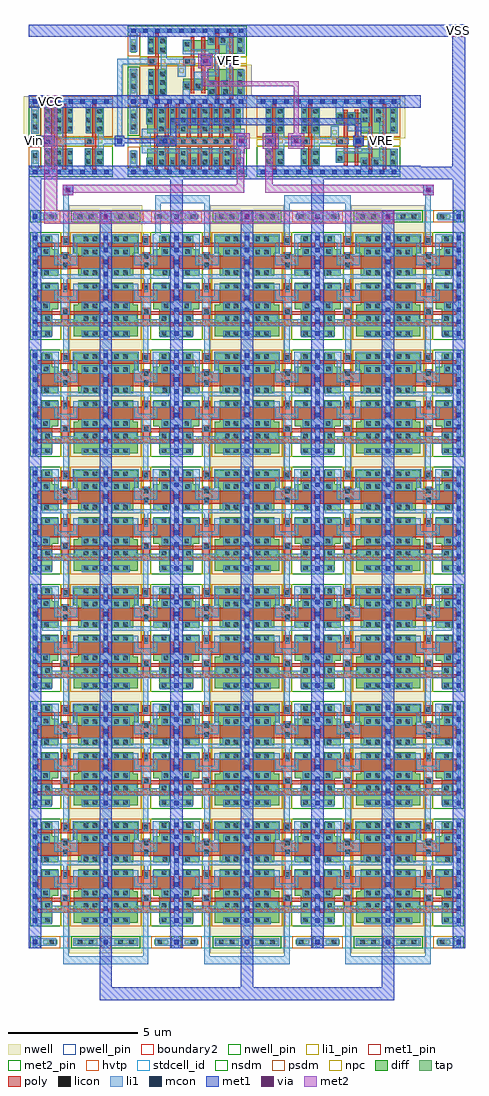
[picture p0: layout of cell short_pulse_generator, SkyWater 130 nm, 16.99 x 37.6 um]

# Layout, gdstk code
from math import pi, radians
import gdstk
lib = gdstk.Library(unit=1e-6, precision=1e-09)
def R(c, l, rs):  # rectangles x0, y0, x1, y1
    for r in rs: c.add(gdstk.rectangle(r[:2], r[2:], *l))
def A(c, l, x, y, w, h, nx, ny, dx, dy):  # array of equal rectangles
    R(c, l, [(x+i*dx, y+j*dy, x+i*dx+w, y+j*dy+h) for i in range(nx) for j in range(ny)])
def P(c, l, *ps):  # polygons
    for p in ps: c.add(gdstk.Polygon(p, *l))
nwell_pin = (64, 16)
nwell = (64, 20)
diff = (65, 20)
tap = (65, 44)
poly = (66, 20)
licon = (66, 44)
li1_pin = (67, 16)
li1 = (67, 20)
mcon = (67, 44)
met1_pin = (68, 16)
met1 = (68, 20)
via = (68, 44)
met2_pin = (69, 16)
met2 = (69, 20)
hvtp = (78, 44)
stdcell_id = (81, 4)
nsdm = (93, 44)
psdm = (94, 20)
npc = (95, 20)
pwell_pin = (122, 16)
boundary2 = (236, 0)

sky130_fd_sc_hd__inv_1 = lib.new_cell('sky130_fd_sc_hd__inv_1')
R(sky130_fd_sc_hd__inv_1, nwell_pin, [(0.145,2.635,0.315,2.805), (0.145,2.635,0.315,2.805)])
R(sky130_fd_sc_hd__inv_1, nwell, [(-0.19,1.305,1.57,2.91)])
R(sky130_fd_sc_hd__inv_1, diff, [(0.34,0.235,1.01,0.885), (0.34,1.485,1.01,2.485)])
P(sky130_fd_sc_hd__inv_1, poly, [(0.75,2.615),(0.6,2.615),(0.6,1.325),(0.32,1.325),(0.32,0.995),(0.6,0.995),(0.6,0.105),(0.75,0.105)])
A(sky130_fd_sc_hd__inv_1, licon, 0.38, 1.575, 0.17, 0.17, 1, 3, 0, 0.34)
A(sky130_fd_sc_hd__inv_1, licon, 0.8, 1.575, 0.17, 0.17, 1, 3, 0, 0.34)
R(sky130_fd_sc_hd__inv_1, licon, [(0.38,0.315,0.55,0.485), (0.8,0.315,0.97,0.485), (0.38,0.655,0.55,0.825), (0.8,0.655,0.97,0.825), (0.4,1.075,0.57,1.245)])
R(sky130_fd_sc_hd__inv_1, li1_pin, [(0.36,1.105,0.53,1.275), (0.82,1.105,0.99,1.275), (0.82,1.445,0.99,1.615)])
R(sky130_fd_sc_hd__inv_1, li1, [(0,-0.085,1.38,0.085), (0.32,0.005,0.55,0.905), (0.32,1.075,0.65,1.315), (0.34,1.495,0.55,2.675), (0,2.635,1.38,2.805)])
P(sky130_fd_sc_hd__inv_1, li1, [(1.05,2.465),(0.72,2.465),(0.72,1.485),(0.82,1.485),(0.82,0.885),(0.72,0.885),(0.72,0.255),(1.05,0.255)])
A(sky130_fd_sc_hd__inv_1, mcon, 0.145, -0.085, 0.17, 0.17, 3, 2, 0.46, 2.72)
R(sky130_fd_sc_hd__inv_1, met1_pin, [(0.145,-0.085,0.315,0.085), (0.145,-0.085,0.315,0.085), (0.145,2.635,0.315,2.805), (0.145,2.635,0.315,2.805)])
R(sky130_fd_sc_hd__inv_1, hvtp, [(0,1.25,1.38,2.72)])
R(sky130_fd_sc_hd__inv_1, stdcell_id, [(0,0,1.38,2.72)])
R(sky130_fd_sc_hd__inv_1, nsdm, [(0,-0.19,1.38,1.015)])
R(sky130_fd_sc_hd__inv_1, psdm, [(0,1.355,1.38,2.91)])
R(sky130_fd_sc_hd__inv_1, npc, [(0,0.975,1.38,1.345)])
R(sky130_fd_sc_hd__inv_1, pwell_pin, [(0.145,-0.085,0.315,0.085), (0.145,-0.085,0.315,0.085)])
R(sky130_fd_sc_hd__inv_1, boundary2, [(0,0,1.38,2.72)])
sky130_fd_sc_hd__inv_1.add(gdstk.FlexPath([(0,2.72),(1.38,2.72)], 0.48, ends="flush", simple_path=True, layer=68, datatype=20))  # met1
sky130_fd_sc_hd__inv_1.add(gdstk.FlexPath([(0,0),(1.38,0)], 0.48, ends="flush", simple_path=True, layer=68, datatype=20))  # met1
sky130_fd_sc_hd__inv_1.add(gdstk.Label('Y', (0.905,1.53), layer=67, texttype=5))
sky130_fd_sc_hd__inv_1.add(gdstk.Label('Y', (0.905,1.19), layer=67, texttype=5))
sky130_fd_sc_hd__inv_1.add(gdstk.Label('A', (0.445,1.19), layer=67, texttype=5))
sky130_fd_sc_hd__inv_1.add(gdstk.Label('VPB', (0.23,2.72), layer=64, texttype=5))
sky130_fd_sc_hd__inv_1.add(gdstk.Label('VNB', (0.23,0), layer=64, texttype=59))
sky130_fd_sc_hd__inv_1.add(gdstk.Label('VGND', (0.23,0), layer=68, texttype=5))
sky130_fd_sc_hd__inv_1.add(gdstk.Label('VPWR', (0.23,2.72), layer=68, texttype=5))
sky130_fd_sc_hd__inv_1.add(gdstk.Label('inv_1', (0,0), layer=83, texttype=44))

sky130_fd_sc_hd__tap_1 = lib.new_cell('sky130_fd_sc_hd__tap_1')
R(sky130_fd_sc_hd__tap_1, nwell, [(-0.19,1.305,0.65,2.91)])
R(sky130_fd_sc_hd__tap_1, tap, [(0.145,0.32,0.315,0.845), (0.145,1.525,0.315,2.4)])
R(sky130_fd_sc_hd__tap_1, licon, [(0.145,0.555,0.315,0.725), (0.145,1.645,0.315,1.815), (0.145,2.065,0.315,2.235)])
R(sky130_fd_sc_hd__tap_1, li1_pin, [(0.19,0.47,0.27,0.565), (0.145,1.81,0.285,1.93)])
R(sky130_fd_sc_hd__tap_1, li1, [(0.085,0.265,0.375,0.81), (0.085,1.47,0.375,2.455)])
R(sky130_fd_sc_hd__tap_1, mcon, [(0.145,-0.085,0.315,0.085), (0.145,2.635,0.315,2.805)])
R(sky130_fd_sc_hd__tap_1, met1_pin, [(0.14,-0.05,0.34,0.07), (0.13,2.675,0.345,2.775)])
R(sky130_fd_sc_hd__tap_1, hvtp, [(0,1.25,0.46,2.72)])
R(sky130_fd_sc_hd__tap_1, stdcell_id, [(0,0,0.46,2.72)])
R(sky130_fd_sc_hd__tap_1, nsdm, [(0,-0.19,0.46,0.19), (0,1.395,0.46,2.53)])
R(sky130_fd_sc_hd__tap_1, psdm, [(0,0.19,0.46,0.975), (0,2.53,0.46,2.91)])
sky130_fd_sc_hd__tap_1.add(gdstk.FlexPath([(0,2.72),(0.46,2.72)], 0.48, ends="flush", simple_path=True, layer=68, datatype=20))  # met1
sky130_fd_sc_hd__tap_1.add(gdstk.FlexPath([(0,0),(0.46,0)], 0.48, ends="flush", simple_path=True, layer=68, datatype=20))  # met1
sky130_fd_sc_hd__tap_1.add(gdstk.FlexPath([(0,0),(0.46,0)], 0.17, ends="flush", simple_path=True, layer=67, datatype=20))  # li1
sky130_fd_sc_hd__tap_1.add(gdstk.FlexPath([(0,2.72),(0.46,2.72)], 0.17, ends="flush", simple_path=True, layer=67, datatype=20))  # li1
sky130_fd_sc_hd__tap_1.add(gdstk.Label('VGND', (0.23,0), layer=68, texttype=5))
sky130_fd_sc_hd__tap_1.add(gdstk.Label('VPWR', (0.23,2.72), layer=68, texttype=5))
sky130_fd_sc_hd__tap_1.add(gdstk.Label('VNB', (0.23,0.51), layer=67, texttype=5))
sky130_fd_sc_hd__tap_1.add(gdstk.Label('VPB', (0.23,1.87), layer=67, texttype=5))
sky130_fd_sc_hd__tap_1.add(gdstk.Label('tap_1', (0,0), layer=83, texttype=44))

sky130_fd_sc_hd__inv_2 = lib.new_cell('sky130_fd_sc_hd__inv_2')
R(sky130_fd_sc_hd__inv_2, nwell_pin, [(0.145,2.635,0.315,2.805)])
R(sky130_fd_sc_hd__inv_2, nwell, [(-0.19,1.305,1.57,2.91)])
R(sky130_fd_sc_hd__inv_2, diff, [(0.145,0.235,1.235,0.885), (0.145,1.485,1.235,2.485)])
P(sky130_fd_sc_hd__inv_2, poly, [(0.975,2.615),(0.825,2.615),(0.825,1.325),(0.555,1.325),(0.555,2.615),(0.405,2.615),(0.405,1.325),(0.105,1.325),(0.105,0.995),(0.405,0.995),(0.405,0.105),(0.555,0.105),(0.555,0.995),(0.825,0.995),(0.825,0.105),(0.975,0.105)])
A(sky130_fd_sc_hd__inv_2, licon, 0.185, 0.295, 0.17, 0.17, 3, 2, 0.42, 0.36)
A(sky130_fd_sc_hd__inv_2, licon, 0.185, 1.575, 0.17, 0.17, 3, 3, 0.42, 0.34)
R(sky130_fd_sc_hd__inv_2, licon, [(0.185,1.075,0.355,1.245)])
A(sky130_fd_sc_hd__inv_2, li1_pin, 0.605, 0.765, 0.17, 0.17, 1, 3, 0, 0.34)
R(sky130_fd_sc_hd__inv_2, li1_pin, [(0.145,1.105,0.315,1.275)])
R(sky130_fd_sc_hd__inv_2, li1, [(0.105,1.075,0.435,1.325)])
P(sky130_fd_sc_hd__inv_2, li1, [(1.38,2.805),(0,2.805),(0,2.635),(0.125,2.635),(0.125,1.495),(0.355,1.495),(0.355,2.635),(1.025,2.635),(1.025,1.495),(1.235,1.495),(1.235,2.635),(1.38,2.635)],
  [(0.855,2.465),(0.525,2.465),(0.525,1.485),(0.605,1.485),(0.605,0.885),(0.525,0.885),(0.525,0.255),(0.855,0.255)],
  [(1.38,0.085),(1.235,0.085),(1.235,0.905),(1.025,0.905),(1.025,0.085),(0.355,0.085),(0.355,0.905),(0.125,0.905),(0.125,0.085),(0,0.085),(0,-0.085),(1.38,-0.085)])
A(sky130_fd_sc_hd__inv_2, mcon, 0.145, -0.085, 0.17, 0.17, 3, 2, 0.46, 2.72)
R(sky130_fd_sc_hd__inv_2, met1_pin, [(0.145,-0.085,0.315,0.085), (0.145,2.635,0.315,2.805)])
R(sky130_fd_sc_hd__inv_2, hvtp, [(0,1.25,1.38,2.72)])
R(sky130_fd_sc_hd__inv_2, stdcell_id, [(0,0,1.38,2.72)])
R(sky130_fd_sc_hd__inv_2, nsdm, [(0,-0.19,1.38,1.015)])
R(sky130_fd_sc_hd__inv_2, psdm, [(0,1.355,1.38,2.91)])
R(sky130_fd_sc_hd__inv_2, npc, [(0,0.975,1.38,1.345)])
R(sky130_fd_sc_hd__inv_2, pwell_pin, [(0.145,-0.085,0.315,0.085)])
R(sky130_fd_sc_hd__inv_2, boundary2, [(0,0,1.38,2.72)])
sky130_fd_sc_hd__inv_2.add(gdstk.FlexPath([(0,2.72),(1.38,2.72)], 0.48, ends="flush", simple_path=True, layer=68, datatype=20))  # met1
sky130_fd_sc_hd__inv_2.add(gdstk.FlexPath([(0,0),(1.38,0)], 0.48, ends="flush", simple_path=True, layer=68, datatype=20))  # met1
sky130_fd_sc_hd__inv_2.add(gdstk.Label('A', (0.23,1.19), layer=67, texttype=5))
sky130_fd_sc_hd__inv_2.add(gdstk.Label('Y', (0.69,0.85), layer=67, texttype=5))
sky130_fd_sc_hd__inv_2.add(gdstk.Label('Y', (0.69,1.53), layer=67, texttype=5))
sky130_fd_sc_hd__inv_2.add(gdstk.Label('Y', (0.69,1.19), layer=67, texttype=5))
sky130_fd_sc_hd__inv_2.add(gdstk.Label('VPB', (0.23,2.72), layer=64, texttype=5))
sky130_fd_sc_hd__inv_2.add(gdstk.Label('VNB', (0.23,0), layer=64, texttype=59))
sky130_fd_sc_hd__inv_2.add(gdstk.Label('VPWR', (0.23,2.72), layer=68, texttype=5))
sky130_fd_sc_hd__inv_2.add(gdstk.Label('VGND', (0.23,0), layer=68, texttype=5))
sky130_fd_sc_hd__inv_2.add(gdstk.Label('inv_2', (0,0), layer=83, texttype=44))

sky130_fd_sc_hd__inv_8 = lib.new_cell('sky130_fd_sc_hd__inv_8')
R(sky130_fd_sc_hd__inv_8, nwell_pin, [(0.145,2.635,0.315,2.805)])
R(sky130_fd_sc_hd__inv_8, nwell, [(-0.19,1.305,4.33,2.91)])
R(sky130_fd_sc_hd__inv_8, diff, [(0.3,0.235,3.91,0.885), (0.3,1.485,3.91,2.485)])
P(sky130_fd_sc_hd__inv_8, poly, [(3.65,2.615),(3.5,2.615),(3.5,1.325),(3.23,1.325),(3.23,2.615),(3.08,2.615),(3.08,1.325),(2.81,1.325),(2.81,2.615),(2.66,2.615),(2.66,1.325),(2.39,1.325),(2.39,2.615),(2.24,2.615),(2.24,1.325),(1.97,1.325),(1.97,2.615),(1.82,2.615),(1.82,1.325),(1.55,1.325),(1.55,2.615),(1.4,2.615),(1.4,1.325),(1.13,1.325),(1.13,2.615),(0.98,2.615),(0.98,1.325),(0.71,1.325),(0.71,2.615),(0.56,2.615),(0.56,0.105),(0.71,0.105),(0.71,0.995),(0.98,0.995),(0.98,0.105),(1.13,0.105),(1.13,0.995),(1.4,0.995),(1.4,0.105),(1.55,0.105),(1.55,0.995),(1.82,0.995),(1.82,0.105),(1.97,0.105),(1.97,0.995),(2.24,0.995),(2.24,0.105),(2.39,0.105),(2.39,0.995),(2.66,0.995),(2.66,0.105),(2.81,0.105),(2.81,0.995),(3.08,0.995),(3.08,0.105),(3.23,0.105),(3.23,0.995),(3.5,0.995),(3.5,0.105),(3.65,0.105)])
A(sky130_fd_sc_hd__inv_8, licon, 0.34, 0.295, 0.17, 0.17, 9, 2, 0.42, 1.62)
A(sky130_fd_sc_hd__inv_8, licon, 0.76, 0.635, 0.17, 0.17, 4, 2, 0.84, 0.94)
A(sky130_fd_sc_hd__inv_8, licon, 0.76, 1.075, 0.17, 0.17, 7, 1, 0.42, 0)
A(sky130_fd_sc_hd__inv_8, licon, 0.34, 2.255, 0.17, 0.17, 9, 1, 0.42, 0)
A(sky130_fd_sc_hd__inv_8, li1_pin, 1.065, 1.105, 0.17, 0.17, 7, 1, 0.46, 0)
R(sky130_fd_sc_hd__inv_8, li1_pin, [(0.145,1.105,0.315,1.275)])
R(sky130_fd_sc_hd__inv_8, li1, [(0.68,1.075,3.535,1.325)])
P(sky130_fd_sc_hd__inv_8, li1, [(4.055,1.665),(3.735,1.665),(3.735,0.905),(0.43,0.905),(0.43,1.495),(3.735,1.495),(3.735,1.665),(3.53,1.665),(3.53,2.465),(3.2,2.465),(3.2,1.665),(2.69,1.665),(2.69,2.465),(2.36,2.465),(2.36,1.665),(1.85,1.665),(1.85,2.465),(1.52,2.465),(1.52,1.665),(1.01,1.665),(1.01,2.465),(0.68,2.465),(0.68,1.665),(0.085,1.665),(0.085,0.715),(0.68,0.715),(0.68,0.255),(1.01,0.255),(1.01,0.715),(1.52,0.715),(1.52,0.255),(1.85,0.255),(1.85,0.715),(2.36,0.715),(2.36,0.255),(2.69,0.255),(2.69,0.715),(3.2,0.715),(3.2,0.255),(3.53,0.255),(3.53,0.715),(4.055,0.715)],
  [(4.14,0.085),(4.005,0.085),(4.005,0.545),(3.7,0.545),(3.7,0.085),(3.03,0.085),(3.03,0.545),(2.86,0.545),(2.86,0.085),(2.19,0.085),(2.19,0.545),(2.02,0.545),(2.02,0.085),(1.35,0.085),(1.35,0.545),(1.18,0.545),(1.18,0.085),(0.51,0.085),(0.51,0.545),(0.255,0.545),(0.255,0.085),(0,0.085),(0,-0.085),(4.14,-0.085)],
  [(4.14,2.805),(0,2.805),(0,2.635),(0.255,2.635),(0.255,1.835),(0.51,1.835),(0.51,2.635),(1.18,2.635),(1.18,1.835),(1.35,1.835),(1.35,2.635),(2.02,2.635),(2.02,1.835),(2.19,1.835),(2.19,2.635),(2.86,2.635),(2.86,1.835),(3.03,1.835),(3.03,2.635),(3.7,2.635),(3.7,1.835),(4,1.835),(4,2.635),(4.14,2.635)])
A(sky130_fd_sc_hd__inv_8, mcon, 0.145, -0.085, 0.17, 0.17, 9, 2, 0.46, 2.72)
R(sky130_fd_sc_hd__inv_8, met1_pin, [(0.145,-0.085,0.315,0.085), (0.145,2.635,0.315,2.805)])
R(sky130_fd_sc_hd__inv_8, hvtp, [(0,1.25,4.14,2.72)])
R(sky130_fd_sc_hd__inv_8, stdcell_id, [(0,0,4.14,2.72)])
R(sky130_fd_sc_hd__inv_8, nsdm, [(0,-0.19,4.14,1.015)])
R(sky130_fd_sc_hd__inv_8, psdm, [(0,1.355,4.14,2.91)])
R(sky130_fd_sc_hd__inv_8, npc, [(0,0.975,4.14,1.345)])
R(sky130_fd_sc_hd__inv_8, pwell_pin, [(0.145,-0.085,0.315,0.085)])
R(sky130_fd_sc_hd__inv_8, boundary2, [(0,0,4.14,2.72)])
sky130_fd_sc_hd__inv_8.add(gdstk.FlexPath([(0,2.72),(4.14,2.72)], 0.48, ends="flush", simple_path=True, layer=68, datatype=20))  # met1
sky130_fd_sc_hd__inv_8.add(gdstk.FlexPath([(0,0),(4.14,0)], 0.48, ends="flush", simple_path=True, layer=68, datatype=20))  # met1
sky130_fd_sc_hd__inv_8.add(gdstk.Label('A', (1.15,1.19), layer=67, texttype=5))
sky130_fd_sc_hd__inv_8.add(gdstk.Label('A', (1.61,1.19), layer=67, texttype=5))
sky130_fd_sc_hd__inv_8.add(gdstk.Label('A', (2.07,1.19), layer=67, texttype=5))
sky130_fd_sc_hd__inv_8.add(gdstk.Label('A', (2.53,1.19), layer=67, texttype=5))
sky130_fd_sc_hd__inv_8.add(gdstk.Label('A', (2.99,1.19), layer=67, texttype=5))
sky130_fd_sc_hd__inv_8.add(gdstk.Label('A', (3.45,1.19), layer=67, texttype=5))
sky130_fd_sc_hd__inv_8.add(gdstk.Label('Y', (3.91,1.19), layer=67, texttype=5))
sky130_fd_sc_hd__inv_8.add(gdstk.Label('Y', (0.23,1.19), layer=67, texttype=5))
sky130_fd_sc_hd__inv_8.add(gdstk.Label('VNB', (0.23,0), layer=64, texttype=59))
sky130_fd_sc_hd__inv_8.add(gdstk.Label('VPB', (0.23,2.72), layer=64, texttype=5))
sky130_fd_sc_hd__inv_8.add(gdstk.Label('VGND', (0.23,0), layer=68, texttype=5))
sky130_fd_sc_hd__inv_8.add(gdstk.Label('VPWR', (0.23,2.72), layer=68, texttype=5))
sky130_fd_sc_hd__inv_8.add(gdstk.Label('inv_8', (0,0), layer=83, texttype=44))

sky130_fd_sc_hd__and2_2 = lib.new_cell('sky130_fd_sc_hd__and2_2')
R(sky130_fd_sc_hd__and2_2, nwell_pin, [(0.145,2.635,0.315,2.805)])
R(sky130_fd_sc_hd__and2_2, nwell, [(-0.19,1.305,2.95,2.91)])
P(sky130_fd_sc_hd__and2_2, diff, [(2.615,2.485),(1.285,2.485),(1.285,2.275),(0.305,2.275),(0.305,1.855),(1.235,1.855),(1.235,1.485),(2.615,1.485)],
  [(2.615,0.885),(1.285,0.885),(1.285,0.795),(0.305,0.795),(0.305,0.375),(1.285,0.375),(1.285,0.235),(2.615,0.235)])
P(sky130_fd_sc_hd__and2_2, poly, [(0.735,2.405),(0.585,2.405),(0.585,1.325),(0.3,1.325),(0.3,0.995),(0.585,0.995),(0.585,0.245),(0.735,0.245)],
  [(1.335,1.325),(1.155,1.325),(1.155,2.405),(1.005,2.405),(1.005,0.245),(1.155,0.245),(1.155,0.995),(1.335,0.995)],
  [(2.235,2.615),(2.085,2.615),(2.085,1.325),(1.695,1.325),(1.695,2.615),(1.545,2.615),(1.545,0.105),(1.695,0.105),(1.695,0.995),(2.085,0.995),(2.085,0.105),(2.235,0.105)])
A(sky130_fd_sc_hd__and2_2, licon, 2.385, 1.575, 0.17, 0.17, 1, 3, 0, 0.34)
R(sky130_fd_sc_hd__and2_2, licon, [(1.325,0.295,1.495,0.465), (1.745,0.295,1.915,0.465), (2.385,0.295,2.555,0.465), (0.365,0.435,0.535,0.605), (2.385,0.635,2.555,0.805), (0.38,1.075,0.55,1.245), (1.085,1.075,1.255,1.245), (1.625,1.075,1.795,1.245), (1.325,1.915,1.495,2.085), (1.845,1.915,2.015,2.085), (0.365,2.045,0.535,2.215), (0.785,2.045,0.955,2.215), (1.325,2.255,1.495,2.425), (1.845,2.255,2.015,2.425)])
A(sky130_fd_sc_hd__and2_2, li1_pin, 1.985, 0.425, 0.17, 0.17, 1, 6, 0, 0.34)
A(sky130_fd_sc_hd__and2_2, li1_pin, 0.145, 1.105, 0.17, 0.17, 3, 1, 0.46, 0)
R(sky130_fd_sc_hd__and2_2, li1_pin, [(0.145,1.445,0.315,1.615)])
R(sky130_fd_sc_hd__and2_2, li1, [(1.005,1.075,1.335,1.325)])
P(sky130_fd_sc_hd__and2_2, li1, [(0.085,1.075),(0.085,1.765),(0.4,1.765),(0.4,1.325),(0.775,1.325),(0.775,1.075)],
  [(1.795,1.325),(1.675,1.325),(1.675,1.745),(1.035,1.745),(1.035,2.295),(0.735,2.295),(0.735,1.575),(1.505,1.575),(1.505,0.905),(0.285,0.905),(0.285,0.355),(0.615,0.355),(0.615,0.715),(1.675,0.715),(1.675,0.995),(1.795,0.995)],
  [(2.76,0.085),(2.675,0.085),(2.675,0.885),(2.385,0.885),(2.385,0.085),(1.495,0.085),(1.495,0.545),(1.245,0.545),(1.245,0.085),(0,0.085),(0,-0.085),(2.76,-0.085)],
  [(2.215,2.465),(1.765,2.465),(1.765,1.915),(1.965,1.915),(1.965,0.545),(1.665,0.545),(1.665,0.255),(2.215,0.255)],
  [(2.76,2.805),(0,2.805),(0,2.635),(0.285,2.635),(0.285,1.965),(0.565,1.965),(0.565,2.635),(1.245,2.635),(1.245,1.915),(1.575,1.915),(1.575,2.635),(2.385,2.635),(2.385,1.495),(2.675,1.495),(2.675,2.635),(2.76,2.635)])
A(sky130_fd_sc_hd__and2_2, mcon, 0.145, -0.085, 0.17, 0.17, 6, 2, 0.46, 2.72)
R(sky130_fd_sc_hd__and2_2, met1_pin, [(0.145,-0.085,0.315,0.085), (0.145,2.635,0.315,2.805)])
R(sky130_fd_sc_hd__and2_2, hvtp, [(0,1.25,2.76,2.72)])
R(sky130_fd_sc_hd__and2_2, stdcell_id, [(0,0,2.76,2.72)])
R(sky130_fd_sc_hd__and2_2, nsdm, [(0,-0.19,2.76,1.015)])
R(sky130_fd_sc_hd__and2_2, psdm, [(0,1.355,2.76,2.91)])
R(sky130_fd_sc_hd__and2_2, npc, [(0,0.975,2.76,1.345)])
R(sky130_fd_sc_hd__and2_2, pwell_pin, [(0.145,-0.085,0.315,0.085)])
R(sky130_fd_sc_hd__and2_2, boundary2, [(0,0,2.76,2.72)])
sky130_fd_sc_hd__and2_2.add(gdstk.FlexPath([(0,0),(2.76,0)], 0.48, ends="flush", simple_path=True, layer=68, datatype=20))  # met1
sky130_fd_sc_hd__and2_2.add(gdstk.FlexPath([(0,2.72),(2.76,2.72)], 0.48, ends="flush", simple_path=True, layer=68, datatype=20))  # met1
sky130_fd_sc_hd__and2_2.add(gdstk.Label('VPWR', (0.23,2.72), layer=68, texttype=5))
sky130_fd_sc_hd__and2_2.add(gdstk.Label('VGND', (0.23,0), layer=68, texttype=5))
sky130_fd_sc_hd__and2_2.add(gdstk.Label('A', (0.69,1.19), layer=67, texttype=5))
sky130_fd_sc_hd__and2_2.add(gdstk.Label('X', (2.07,0.85), layer=67, texttype=5))
sky130_fd_sc_hd__and2_2.add(gdstk.Label('A', (0.23,1.19), layer=67, texttype=5))
sky130_fd_sc_hd__and2_2.add(gdstk.Label('X', (2.07,0.51), layer=67, texttype=5))
sky130_fd_sc_hd__and2_2.add(gdstk.Label('X', (2.07,1.19), layer=67, texttype=5))
sky130_fd_sc_hd__and2_2.add(gdstk.Label('X', (2.07,1.53), layer=67, texttype=5))
sky130_fd_sc_hd__and2_2.add(gdstk.Label('X', (2.07,1.87), layer=67, texttype=5))
sky130_fd_sc_hd__and2_2.add(gdstk.Label('X', (2.07,2.21), layer=67, texttype=5))
sky130_fd_sc_hd__and2_2.add(gdstk.Label('B', (1.15,1.19), layer=67, texttype=5))
sky130_fd_sc_hd__and2_2.add(gdstk.Label('VPB', (0.23,2.72), layer=64, texttype=5))
sky130_fd_sc_hd__and2_2.add(gdstk.Label('VNB', (0.23,0), layer=64, texttype=59))
sky130_fd_sc_hd__and2_2.add(gdstk.Label('and2_2', (0,0), layer=83, texttype=44))

sky130_fd_sc_hd__clkdlyb = lib.new_cell('sky130_fd_sc_hd__clkdlybuf4s50_2')
R(sky130_fd_sc_hd__clkdlyb, nwell_pin, [(0.15,2.635,0.32,2.805)])
R(sky130_fd_sc_hd__clkdlyb, nwell, [(-0.19,1.305,4.33,2.91)])
P(sky130_fd_sc_hd__clkdlyb, diff, [(1.68,2.485),(0.135,2.485),(0.135,1.485),(0.805,1.485),(0.805,1.665),(1.68,1.665)],
  [(1.68,0.885),(0.665,0.885),(0.665,0.655),(0.135,0.655),(0.135,0.235),(1.68,0.235)],
  [(4.005,2.485),(1.95,2.485),(1.95,1.665),(2.79,1.665),(2.79,1.485),(4.005,1.485)],
  [(4.005,0.655),(2.96,0.655),(2.96,0.885),(1.95,0.885),(1.95,0.235),(4.005,0.235)])
P(sky130_fd_sc_hd__clkdlyb, poly, [(0.555,2.615),(0.405,2.615),(0.405,1.305),(0.15,1.305),(0.15,1.015),(0.405,1.015),(0.405,0.105),(0.555,0.105)],
  [(1.435,1.295),(1.415,1.295),(1.415,2.615),(0.915,2.615),(0.915,1.295),(0.765,1.295),(0.765,1.025),(0.915,1.025),(0.915,0.105),(1.415,0.105),(1.415,1.025),(1.435,1.025)],
  [(2.71,2.615),(2.21,2.615),(2.21,1.305),(1.975,1.305),(1.975,1.015),(2.21,1.015),(2.21,0.105),(2.71,0.105)],
  [(3.615,2.615),(3.465,2.615),(3.465,1.295),(3.19,1.295),(3.19,2.615),(3.04,2.615),(3.04,1.325),(2.92,1.325),(2.92,0.995),(3.04,0.995),(3.04,0.105),(3.19,0.105),(3.19,1.025),(3.465,1.025),(3.465,0.105),(3.615,0.105)])
R(sky130_fd_sc_hd__clkdlyb, licon, [(2.765,0.315,2.935,0.485), (0.665,0.34,0.835,0.51), (1.47,0.35,1.64,0.52), (0.18,0.385,0.35,0.555), (1.99,0.385,2.16,0.555), (3.245,0.385,3.415,0.555), (3.795,0.385,3.965,0.555), (0.23,1.075,0.4,1.245), (0.845,1.075,1.015,1.245), (1.185,1.075,1.355,1.245), (2.055,1.075,2.225,1.245), (2.97,1.075,3.14,1.245), (1.99,1.875,2.16,2.045), (3.245,1.875,3.415,2.045), (0.18,1.88,0.35,2.05), (0.68,1.88,0.85,2.05), (1.47,1.88,1.64,2.05), (2.765,1.88,2.935,2.05), (3.795,1.88,3.965,2.05), (1.99,2.215,2.16,2.385), (3.245,2.215,3.415,2.385), (0.18,2.22,0.35,2.39), (0.68,2.22,0.85,2.39), (1.47,2.22,1.64,2.39), (2.765,2.22,2.935,2.39), (3.795,2.22,3.965,2.39)])
A(sky130_fd_sc_hd__clkdlyb, li1_pin, 3.39, 0.425, 0.17, 0.17, 1, 6, 0, 0.34)
R(sky130_fd_sc_hd__clkdlyb, li1_pin, [(0.15,1.105,0.32,1.275)])
R(sky130_fd_sc_hd__clkdlyb, li1, [(0.085,1.075,0.48,1.285)])
P(sky130_fd_sc_hd__clkdlyb, li1, [(4.14,0.085),(4.055,0.085),(4.055,0.635),(3.795,0.635),(3.795,0.085),(3.015,0.085),(3.015,0.565),(2.685,0.565),(2.685,0.085),(0.915,0.085),(0.915,0.565),(0.585,0.565),(0.585,0.085),(0,0.085),(0,-0.085),(4.14,-0.085)],
  [(4.14,2.805),(0,2.805),(0,2.635),(0.6,2.635),(0.6,1.8),(0.93,1.8),(0.93,2.635),(2.685,2.635),(2.685,1.8),(3.015,1.8),(3.015,2.635),(3.795,2.635),(3.795,1.8),(4.055,1.8),(4.055,2.635),(4.14,2.635)],
  [(1.435,1.245),(1.27,1.245),(1.27,1.63),(0.43,1.63),(0.43,2.465),(0.085,2.465),(0.085,1.455),(0.85,1.455),(0.85,1.245),(0.765,1.245),(0.765,1.075),(0.85,1.075),(0.85,0.905),(0.085,0.905),(0.085,0.27),(0.415,0.27),(0.415,0.735),(1.27,0.735),(1.27,1.075),(1.435,1.075)],
  [(2.305,1.245),(1.795,1.245),(1.795,2.465),(1.39,2.465),(1.39,1.785),(1.625,1.785),(1.625,0.9),(1.44,0.9),(1.44,0.27),(1.795,0.27),(1.795,1.075),(2.305,1.075)],
  [(3.175,1.325),(2.645,1.325),(2.645,1.63),(2.235,1.63),(2.235,2.465),(1.985,2.465),(1.985,1.46),(2.475,1.46),(2.475,0.905),(1.985,0.905),(1.985,0.27),(2.235,0.27),(2.235,0.735),(2.645,0.735),(2.645,0.995),(3.175,0.995)],
  [(3.625,2.465),(3.185,2.465),(3.185,1.53),(3.345,1.53),(3.345,0.64),(3.185,0.64),(3.185,0.27),(3.625,0.27)])
A(sky130_fd_sc_hd__clkdlyb, mcon, 0.145, -0.085, 0.17, 0.17, 9, 2, 0.46, 2.72)
R(sky130_fd_sc_hd__clkdlyb, met1_pin, [(0.15,-0.085,0.32,0.085), (0.15,2.635,0.32,2.805)])
R(sky130_fd_sc_hd__clkdlyb, hvtp, [(0,1.25,4.14,2.72)])
R(sky130_fd_sc_hd__clkdlyb, stdcell_id, [(0,0,4.14,2.72)])
R(sky130_fd_sc_hd__clkdlyb, nsdm, [(0,-0.19,4.14,1.015)])
R(sky130_fd_sc_hd__clkdlyb, psdm, [(0,1.355,4.14,2.91)])
R(sky130_fd_sc_hd__clkdlyb, npc, [(0,0.975,4.14,1.345)])
R(sky130_fd_sc_hd__clkdlyb, pwell_pin, [(0.15,-0.085,0.32,0.085)])
R(sky130_fd_sc_hd__clkdlyb, boundary2, [(0,0,4.14,2.72)])
sky130_fd_sc_hd__clkdlyb.add(gdstk.FlexPath([(0,2.72),(4.14,2.72)], 0.48, ends="flush", simple_path=True, layer=68, datatype=20))  # met1
sky130_fd_sc_hd__clkdlyb.add(gdstk.FlexPath([(0,0),(4.14,0)], 0.48, ends="flush", simple_path=True, layer=68, datatype=20))  # met1
sky130_fd_sc_hd__clkdlyb.add(gdstk.Label('A', (0.235,1.19), layer=67, texttype=5))
sky130_fd_sc_hd__clkdlyb.add(gdstk.Label('X', (3.475,2.21), layer=67, texttype=5))
sky130_fd_sc_hd__clkdlyb.add(gdstk.Label('X', (3.475,1.87), layer=67, texttype=5))
sky130_fd_sc_hd__clkdlyb.add(gdstk.Label('X', (3.475,1.53), layer=67, texttype=5))
sky130_fd_sc_hd__clkdlyb.add(gdstk.Label('X', (3.475,1.19), layer=67, texttype=5))
sky130_fd_sc_hd__clkdlyb.add(gdstk.Label('X', (3.475,0.85), layer=67, texttype=5))
sky130_fd_sc_hd__clkdlyb.add(gdstk.Label('X', (3.475,0.51), layer=67, texttype=5))
sky130_fd_sc_hd__clkdlyb.add(gdstk.Label('VNB', (0.23,0), layer=64, texttype=59))
sky130_fd_sc_hd__clkdlyb.add(gdstk.Label('VPB', (0.23,2.72), layer=64, texttype=5))
sky130_fd_sc_hd__clkdlyb.add(gdstk.Label('VGND', (0.23,0), layer=68, texttype=5))
sky130_fd_sc_hd__clkdlyb.add(gdstk.Label('VPWR', (0.23,2.72), layer=68, texttype=5))
sky130_fd_sc_hd__clkdlyb.add(gdstk.Label('clkdlybuf4s50_2', (0,0), layer=83, texttype=44))

sp_delay = lib.new_cell('sp_delay')
A(sp_delay, li1, 4.465, 1.075, 0.98, 0.21, 6, 1, 4.52, 0)
R(sp_delay, li1, [(0.085,0.085,0.375,0.265), (28.045,0.085,28.335,0.265), (0.085,2.455,0.375,2.635), (28.045,2.455,28.335,2.635)])
R(sp_delay, met1, [(0,-0.24,28.42,0.24), (0,2.48,28.42,2.96)])
sp_delay.add(gdstk.Reference(sky130_fd_sc_hd__tap_1, (27.96,0)))
sp_delay.add(gdstk.Reference(sky130_fd_sc_hd__tap_1, (0,0)))
sp_delay.add(gdstk.Reference(sky130_fd_sc_hd__clkdlyb, (23.44,0)))
sp_delay.add(gdstk.Reference(sky130_fd_sc_hd__clkdlyb, (18.92,0)))
sp_delay.add(gdstk.Reference(sky130_fd_sc_hd__clkdlyb, (14.4,0)))
sp_delay.add(gdstk.Reference(sky130_fd_sc_hd__clkdlyb, (9.88,0)))
sp_delay.add(gdstk.Reference(sky130_fd_sc_hd__clkdlyb, (5.36,0)))
sp_delay.add(gdstk.Reference(sky130_fd_sc_hd__clkdlyb, (0.84,0)))

sp_delay2x = lib.new_cell('sp_delay2x')
R(sp_delay2x, nwell, [(0,1.545,28.8,4.335)])
R(sp_delay2x, li1_pin, [(0.335,0.795,0.505,0.965), (1.26,1.315,1.43,1.485), (0.335,1.885,0.505,2.055), (1.115,4.395,1.26,4.605)])
R(sp_delay2x, li1, [(0.335,0.795,0.505,0.965), (1.26,1.315,1.43,1.485), (28.235,1.315,29.23,1.525), (28.93,1.525,29.23,4.395), (0.335,1.885,0.505,2.055), (1.115,4.395,1.26,4.605), (27.685,4.395,29.23,4.605)])
R(sp_delay2x, met1, [(-1.5,0,0.19,0.48), (-1.5,0.48,-1,5.44), (-1.5,5.44,0.19,5.92)])
A(sp_delay2x, hvtp, 1.255, 2.905, 1.37, 0.11, 6, 1, 4.52, 0)
A(sp_delay2x, hvtp, 3.06, 2.905, 1.765, 0.11, 6, 1, 4.52, 0)
A(sp_delay2x, psdm, 1.04, 2.85, 4.12, 0.22, 6, 1, 4.52, 0)
sp_delay2x.add(gdstk.Reference(sp_delay, (0.19,5.68), x_reflection=True))
sp_delay2x.add(gdstk.Reference(sp_delay, (0.19,0.24)))
sp_delay2x.add(gdstk.Label('VCC', (0.42,1.97), layer=67, texttype=5))
sp_delay2x.add(gdstk.Label('VSS', (0.42,0.88), layer=67, texttype=5))
sp_delay2x.add(gdstk.Label('VIN', (1.345,1.4), layer=67, texttype=5))
sp_delay2x.add(gdstk.Label('VOUT', (1.187,4.5), layer=67, texttype=5))

sp_delay_top = lib.new_cell('sp_delay_top')
R(sp_delay_top, li1_pin, [(1.835,0.795,2.005,0.965), (2.76,1.315,2.93,1.485), (1.835,1.885,2.005,2.055), (2.615,15.275,2.76,15.48)])
R(sp_delay_top, li1, [(1.835,0.795,2.005,0.965), (2.76,1.315,2.93,1.485), (1.835,1.885,2.005,2.055), (1.115,4.875,2.615,5.085), (1.115,5.085,1.415,6.755), (1.115,6.755,2.615,6.965), (1.115,9.835,2.615,10.045), (1.115,10.045,1.415,12.195), (1.115,12.195,2.615,12.405), (2.615,15.275,2.76,15.48)])
A(sp_delay_top, met1, 30.11, 2.72, 2, 0.48, 1, 3, 0, 5.44)
R(sp_delay_top, met1, [(31.61,3.2,32.11,8.16), (31.61,8.64,32.11,13.6)])
A(sp_delay_top, nsdm, 2.54, 5.57, 4.12, 0.22, 6, 2, 4.52, 5.44)
sp_delay_top.add(gdstk.Reference(sp_delay2x, (1.5,10.88)))
sp_delay_top.add(gdstk.Reference(sp_delay2x, (1.5,5.44)))
sp_delay_top.add(gdstk.Reference(sp_delay2x, (1.5,0)))
sp_delay_top.add(gdstk.Label('VCC', (1.92,1.97), layer=67, texttype=5))
sp_delay_top.add(gdstk.Label('VSS', (1.92,0.88), layer=67, texttype=5))
sp_delay_top.add(gdstk.Label('VIN', (2.845,1.4), layer=67, texttype=5))
sp_delay_top.add(gdstk.Label('VOUT', (2.687,15.377), layer=67, texttype=5))

short_pulse_generator = lib.new_cell('short_pulse_generator')
R(short_pulse_generator, nwell, [(3.41,1.305,3.7,2.91)])
R(short_pulse_generator, li1, [(1.315,-2.8,1.525,-0.9), (15.275,-2.8,15.485,-0.9), (1.3,-0.9,1.7,-0.5), (15.2,-0.9,15.6,-0.5), (0.085,0,0.375,0.5), (3.885,0,4.175,0.5), (0.63,1.075,0.8,1.245), (1.1,1.075,2.4,1.315), (2.7,1.075,3.6,1.285), (8.1,1.1,8.27,1.27), (9.2,1.1,9.37,1.27), (9.8,1.1,10.8,1.31), (11,1.1,12,1.31), (12.6,1.1,12.77,1.27), (13.53,1.1,13.7,1.3), (5,1.11,5.5,1.28), (3.4,1.285,3.6,4.14), (0.085,2.3,0.375,2.7), (3.885,2.3,4.175,3.1), (3.4,4.14,4.9,4.36), (5.1,4.14,6,4.36), (6.72,4.19,6.89,4.36), (7.63,4.2,7.8,4.37), (3.885,5.1,4.175,5.5)])
R(short_pulse_generator, mcon, [(1.415,-0.785,1.585,-0.615), (15.315,-0.785,15.485,-0.615), (0.63,1.075,0.8,1.245), (8.1,1.1,8.27,1.27), (9.2,1.1,9.37,1.27), (10.2,1.1,10.37,1.27), (12.6,1.1,12.77,1.27), (3.4,1.11,3.57,1.28), (5.165,1.11,5.335,1.28), (13.53,1.115,13.7,1.285), (6.72,4.19,6.89,4.36), (7.63,4.2,7.8,4.37)])
R(short_pulse_generator, met1_pin, [(0,1,0.4,1.4), (13.4,1,13.8,1.4), (7.53,4.1,7.9,4.47), (16.3,5.2,16.8,5.7)])
A(short_pulse_generator, met1, 2.82, -1.9, 0.28, 0.3, 3, 1, 5.44, 0)
R(short_pulse_generator, met1, [(1.3,-0.9,1.7,-0.5), (15.2,-0.9,15.6,-0.5), (16.3,-0.3,16.8,5.2), (0,-0.24,15.1,0.24), (12.6,0.96,12.8,1), (5.45,0.99,5.68,1), (0,1,1,1.4), (3.3,1,3.67,1.1), (4.9,1,5.68,1.1), (8,1,8.4,1.4), (9.1,1,9.5,1.4), (10.1,1,10.5,1.4), (12.5,1,12.9,1.4), (13.4,1,13.8,1.4), (3.3,1.1,5.68,1.3), (3.3,1.3,3.67,1.4), (4.9,1.3,5.68,1.4), (5.45,1.4,5.68,1.79), (12.6,1.4,12.8,1.79), (5.45,1.79,12.8,2.06), (0,2.48,15.1,2.96), (6.62,4.09,7.02,4.49), (7.53,4.1,7.9,4.47), (0,5.2,16.8,5.68), (16.3,5.68,16.8,5.7)])
A(short_pulse_generator, via, 2.885, -1.825, 0.15, 0.15, 3, 1, 5.44, 0)
R(short_pulse_generator, via, [(1.425,-0.775,1.575,-0.625), (15.325,-0.775,15.475,-0.625), (8.125,1.125,8.275,1.275), (9.225,1.125,9.375,1.275), (10.225,1.125,10.375,1.275), (0.775,2.635,0.925,2.785), (6.745,4.215,6.895,4.365)])
R(short_pulse_generator, met2_pin, [(0.6,2.46,1.1,2.96)])
R(short_pulse_generator, met2, [(0.6,-2,14.08,-1.5), (0.6,-1.5,1.1,2.96), (1.3,-0.9,1.7,-0.8), (15.2,-0.9,15.6,-0.8), (1.3,-0.8,8.3,-0.5), (9.1,-0.8,15.6,-0.5), (8,-0.5,8.3,0.9), (9.1,-0.5,9.4,0.9), (7.9,0.9,8.5,1.5), (9,0.9,9.6,1.5), (10,0.9,10.6,1.5), (10.2,1.5,10.4,3.3), (6.7,3.3,10.4,3.5), (6.7,3.5,6.9,4), (6.52,4,7.09,4.56)])
R(short_pulse_generator, hvtp, [(4.68,2.665,5.19,2.775), (6.045,2.665,8.055,2.775), (6.045,2.775,7.005,2.985)])
R(short_pulse_generator, nsdm, [(1.82,0.11,2.055,1.01)])
R(short_pulse_generator, psdm, [(1.82,1.36,2.055,2.61), (4.475,2.61,5.395,2.83), (6.8,2.61,8.295,2.83)])
short_pulse_generator.add(gdstk.Reference(sky130_fd_sc_hd__inv_1, (4.26,5.44), x_reflection=True))
short_pulse_generator.add(gdstk.Reference(sky130_fd_sc_hd__tap_1, (0,0)))
short_pulse_generator.add(gdstk.Reference(sky130_fd_sc_hd__inv_2, (0.46,0)))
short_pulse_generator.add(gdstk.Reference(sky130_fd_sc_hd__inv_1, (1.84,0)))
short_pulse_generator.add(gdstk.Reference(sky130_fd_sc_hd__tap_1, (3.8,0)))
short_pulse_generator.add(gdstk.Reference(sky130_fd_sc_hd__inv_8, (4.26,0)))
short_pulse_generator.add(gdstk.Reference(sky130_fd_sc_hd__tap_1, (3.8,5.44), x_reflection=True))
short_pulse_generator.add(gdstk.Reference(sky130_fd_sc_hd__and2_2, (5.64,5.44), x_reflection=True))
short_pulse_generator.add(gdstk.Reference(sky130_fd_sc_hd__inv_1, (8.78,0)))
short_pulse_generator.add(gdstk.Reference(sky130_fd_sc_hd__inv_1, (10.16,0)))
short_pulse_generator.add(gdstk.Reference(sky130_fd_sc_hd__and2_2, (11.54,0)))
short_pulse_generator.add(gdstk.Reference(sp_delay_top, (0,0.21), rotation=3*pi/2))
short_pulse_generator.add(gdstk.Label('VSS', (16.55,5.45), layer=68, texttype=5))
short_pulse_generator.add(gdstk.Label('VCC', (0.85,2.71), layer=69, texttype=5))
short_pulse_generator.add(gdstk.Label('Vin', (0.2,1.2), layer=68, texttype=5))
short_pulse_generator.add(gdstk.Label('VFE', (7.715,4.285), layer=68, texttype=5))
short_pulse_generator.add(gdstk.Label('VRE', (13.6,1.2), layer=68, texttype=5))

lib.write_gds('short_pulse_generator.gds')
